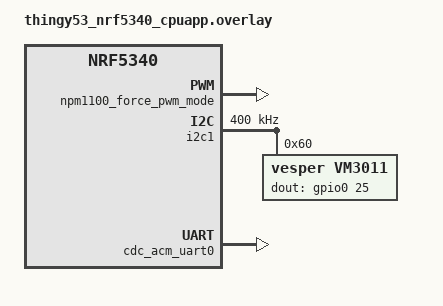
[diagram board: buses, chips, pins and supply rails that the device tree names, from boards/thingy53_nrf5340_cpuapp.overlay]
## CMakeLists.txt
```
# /* The Clear BSD License
#  *
#  * Copyright (c) 2025 EdgeImpulse Inc.
#  * All rights reserved.
#  *
#  * Redistribution and use in source and binary forms, with or without
#  * modification, are permitted (subject to the limitations in the disclaimer
#  * below) provided that the following conditions are met:
#  *
#  *   * Redistributions of source code must retain the above copyright notice,
#  *   this list of conditions and the following disclaimer.
#  *
#  *   * Redistributions in binary form must reproduce the above copyright
#  *   notice, this list of conditions and the following disclaimer in the
#  *   documentation and/or other materials provided with the distribution.
#  *
#  *   * Neither the name of the copyright holder nor the names of its
#  *   contributors may be used to endorse or promote products derived from this
#  *   software without specific prior written permission.
#  *
#  * NO EXPRESS OR IMPLIED LICENSES TO ANY PARTY'S PATENT RIGHTS ARE GRANTED BY
#  * THIS LICENSE. THIS SOFTWARE IS PROVIDED BY THE COPYRIGHT HOLDERS AND
#  * CONTRIBUTORS "AS IS" AND ANY EXPRESS OR IMPLIED WARRANTIES, INCLUDING, BUT NOT
#  * LIMITED TO, THE IMPLIED WARRANTIES OF MERCHANTABILITY AND FITNESS FOR A
#  * PARTICULAR PURPOSE ARE DISCLAIMED. IN NO EVENT SHALL THE COPYRIGHT HOLDER OR
#  * CONTRIBUTORS BE LIABLE FOR ANY DIRECT, INDIRECT, INCIDENTAL, SPECIAL,
#  * EXEMPLARY, OR CONSEQUENTIAL DAMAGES (INCLUDING, BUT NOT LIMITED TO,
#  * PROCUREMENT OF SUBSTITUTE GOODS OR SERVICES; LOSS OF USE, DATA, OR PROFITS; OR
#  * BUSINESS INTERRUPTION) HOWEVER CAUSED AND ON ANY THEORY OF LIABILITY, WHETHER
#  * IN CONTRACT, STRICT LIABILITY, OR TORT (INCLUDING NEGLIGENCE OR OTHERWISE)
#  * ARISING IN ANY WAY OUT OF THE USE OF THIS SOFTWARE, EVEN IF ADVISED OF THE
#  * POSSIBILITY OF SUCH DAMAGE.
#  */

cmake_minimum_required(VERSION 3.13.1)

# If project is build with WiFi shiled using the command line
# west build -b thingy53_nrf5340_cpuapp -p -- -DSHIELD=nrf7002eb
# then the SHIELD variable is set to nrf7002eb and additional configuratio for project is added
if("${SHIELD}" STREQUAL "nrf7002eb")
    set(CONF_FILE ${CMAKE_CURRENT_SOURCE_DIR}/boards/shield-nrf7002eb.conf; ${CMAKE_CURRENT_SOURCE_DIR}/boards/thingy53_nrf5340_cpuapp.conf; ${CMAKE_CURRENT_SOURCE_DIR}/prj.conf)
endif()

set(CMAKE_CXX_STANDARD 11)
set(CMAKE_CXX_STANDARD_REQUIRED ON)

list(APPEND ZEPHYR_EXTRA_MODULES ${CMAKE_CURRENT_SOURCE_DIR}/drivers/vm3011 )

##########################################################################
find_package(Zephyr REQUIRED HINTS $ENV{ZEPHYR_BASE})
project("firmware-nordic-thingy53-internal"
          VERSION 0.1)
##########################################################################

add_subdirectory(ei-model/edge-impulse-sdk/cmake/zephyr)

# Needed for colorful output
zephyr_compile_options(-fdiagnostics-color=always)

# Use hardware acceleration for DSP and Neural Network code
# You'll need to disable these on non-Arm cores
add_definitions(-DEIDSP_USE_CMSIS_DSP=1
                -DEIDSP_LOAD_CMSIS_DSP_SOURCES=1
                -DEI_CLASSIFIER_TFLITE_ENABLE_CMSIS_NN=1
                -DEIDSP_QUANTIZE_FILTERBANK=0
                -DARM_MATH_LOOPUNROLL
                -DMBEDTLS_PLATFORM_ZEROIZE_ALT
                )

# Edge impulse SDK include directories
set(INCLUDES
    .
    drivers
    ei-model
    ei-model/tflite-model
    ei-model/model-parameters
    src
    src/libs
    )
include_directories(${INCLUDES})

RECURSIVE_FIND_FILE(MODEL_FILES "ei-model/tflite-model" "*.cpp")
RECURSIVE_FIND_FILE(BME68X_FILES "drivers/bme68x" "*.c")
RECURSIVE_FIND_FILE(FIRMWARE_SDK_FILES "firmware-sdk" "*.cpp")
RECURSIVE_FIND_FILE(FIRMWARE_SDK_C_FILES "firmware-sdk" "*.c")
RECURSIVE_FIND_FILE(LIB_MBEDTLS_FILES "src/libs/mbedtls_hmac_sha256_sw/mbedtls/src" "*.c")
RECURSIVE_FIND_FILE(SENSORS_FILES "src/sensors" "*.cpp")
RECURSIVE_FIND_FILE(INFERENCE_FILES "src/inference" "*.cpp")

list(APPEND SOURCE_FILES ${MODEL_FILES})
list(APPEND SOURCE_FILES ${BME68X_FILES})
list(APPEND SOURCE_FILES ${FIRMWARE_SDK_FILES})
list(APPEND SOURCE_FILES ${FIRMWARE_SDK_C_FILES})
list(APPEND SOURCE_FILES ${LIB_MBEDTLS_FILES})
list(APPEND SOURCE_FILES ${LIB_SENSOR_AQ_MBEDTLS_FILES})
list(APPEND SOURCE_FILES ${SENSORS_FILES})
list(APPEND SOURCE_FILES ${INFERENCE_FILES})

# add all sources to the project
target_sources(app PRIVATE ${SOURCE_FILES})
target_sources(app PRIVATE src/ble/ei_ble_com.cpp)
target_sources(app PRIVATE src/ble/nus.c)
target_sources(app PRIVATE src/ble/ble_nus.cpp)
if("${SHIELD}" STREQUAL "nrf7002eb")
    target_sources(app PRIVATE src/wifi/wifi.cpp)
    target_sources(app PRIVATE src/wifi/ei_ws_client.cpp)
endif()
target_sources(app PRIVATE src/ei_base64_encode.cpp)
target_sources(app PRIVATE src/ei_at_handlers.cpp)
target_sources(app PRIVATE src/ei_device_thingy53.cpp)
target_sources(app PRIVATE src/ei_sampler.cpp)
target_sources(app PRIVATE src/flash_memory.cpp)
target_sources(app PRIVATE src/main.cpp)
```

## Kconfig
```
# /* The Clear BSD License
#  *
#  * Copyright (c) 2025 EdgeImpulse Inc.
#  * All rights reserved.
#  *
#  * Redistribution and use in source and binary forms, with or without
#  * modification, are permitted (subject to the limitations in the disclaimer
#  * below) provided that the following conditions are met:
#  *
#  *   * Redistributions of source code must retain the above copyright notice,
#  *   this list of conditions and the following disclaimer.
#  *
#  *   * Redistributions in binary form must reproduce the above copyright
#  *   notice, this list of conditions and the following disclaimer in the
#  *   documentation and/or other materials provided with the distribution.
#  *
#  *   * Neither the name of the copyright holder nor the names of its
#  *   contributors may be used to endorse or promote products derived from this
#  *   software without specific prior written permission.
#  *
#  * NO EXPRESS OR IMPLIED LICENSES TO ANY PARTY'S PATENT RIGHTS ARE GRANTED BY
#  * THIS LICENSE. THIS SOFTWARE IS PROVIDED BY THE COPYRIGHT HOLDERS AND
#  * CONTRIBUTORS "AS IS" AND ANY EXPRESS OR IMPLIED WARRANTIES, INCLUDING, BUT NOT
#  * LIMITED TO, THE IMPLIED WARRANTIES OF MERCHANTABILITY AND FITNESS FOR A
#  * PARTICULAR PURPOSE ARE DISCLAIMED. IN NO EVENT SHALL THE COPYRIGHT HOLDER OR
#  * CONTRIBUTORS BE LIABLE FOR ANY DIRECT, INDIRECT, INCIDENTAL, SPECIAL,
#  * EXEMPLARY, OR CONSEQUENTIAL DAMAGES (INCLUDING, BUT NOT LIMITED TO,
#  * PROCUREMENT OF SUBSTITUTE GOODS OR SERVICES; LOSS OF USE, DATA, OR PROFITS; OR
#  * BUSINESS INTERRUPTION) HOWEVER CAUSED AND ON ANY THEORY OF LIABILITY, WHETHER
#  * IN CONTRACT, STRICT LIABILITY, OR TORT (INCLUDING NEGLIGENCE OR OTHERWISE)
#  * ARISING IN ANY WAY OUT OF THE USE OF THIS SOFTWARE, EVEN IF ADVISED OF THE
#  * POSSIBILITY OF SUCH DAMAGE.
#  */

source "Kconfig.zephyr"

menu "Nordic UART BLE GATT service sample"

config BT_NUS_UART_BUFFER_SIZE
	int "UART payload buffer element size"
	default 244
	help
	  Size of the payload buffer in each RX and TX FIFO element

config BT_NUS_UART_RX_WAIT_TIME
	int "Timeout for UART RX complete event"
	default 50
	help
	  Wait for RX complete event time in milliseconds

config CONNECTION_IDLE_TIMEOUT
	int "Time to be waited for a station to connect"
	default 30

config STA_SAMPLE_SSID
	string "SSID"
	help
	  Specify the SSID to connect

choice  STA_KEY_MGMT_SELECT
	prompt "Security Option"
	default STA_KEY_MGMT_WPA3

config STA_KEY_MGMT_NONE
	bool "Open Security"
	help
	  Enable for Open Security

config STA_KEY_MGMT_WPA2
	bool "WPA2 Security"
	help
	  Enable for WPA2 Security

config STA_KEY_MGMT_WPA2_256
	bool "WPA2 SHA 256 Security"
	help
	  Enable for WPA2-PSK-256 Security

config STA_KEY_MGMT_WPA3
	bool "WPA3 Security"
	help
	  Enable for WPA3 Security
endchoice

config STA_SAMPLE_PASSWORD
	string "Passphrase (WPA2) or password (WPA3)"
	help
	  Specify the Password to connect

config NRF700X_QSPI_ENCRYPTION_KEY
	string "16 bytes QSPI encryption key, only for testing purposes"
	depends on BOARD_NRF7002DK_NRF5340_CPUAPP
	help
	  Specify the QSPI encryption key

config EDGE_IMPULSE_API_KEY
	string "Edge Impulse API key"
	help
	  Specify the Edge Impulse API key fro your project

module = REMOTE_INGESTION
module-str = Remote Ingestion
source "subsys/logging/Kconfig.template.log_config"

endmenu

config EI_INFERENCE_THREAD_STACK
	int "Inference thread stack size"
	default 256
	help
	  "Set the Edge Impulse inference thread stack size."

config EI_INFERENCE_THREAD_PRIO
	int "Inference thread priority"
	default 5
	help
	  "Set the Edge Impulse inference thread priority. The lower number, the higher prority."
```

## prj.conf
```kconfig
# /* The Clear BSD License
#  *
#  * Copyright (c) 2025 EdgeImpulse Inc.
#  * All rights reserved.
#  *
#  * Redistribution and use in source and binary forms, with or without
#  * modification, are permitted (subject to the limitations in the disclaimer
#  * below) provided that the following conditions are met:
#  *
#  *   * Redistributions of source code must retain the above copyright notice,
#  *   this list of conditions and the following disclaimer.
#  *
#  *   * Redistributions in binary form must reproduce the above copyright
#  *   notice, this list of conditions and the following disclaimer in the
#  *   documentation and/or other materials provided with the distribution.
#  *
#  *   * Neither the name of the copyright holder nor the names of its
#  *   contributors may be used to endorse or promote products derived from this
#  *   software without specific prior written permission.
#  *
#  * NO EXPRESS OR IMPLIED LICENSES TO ANY PARTY'S PATENT RIGHTS ARE GRANTED BY
#  * THIS LICENSE. THIS SOFTWARE IS PROVIDED BY THE COPYRIGHT HOLDERS AND
#  * CONTRIBUTORS "AS IS" AND ANY EXPRESS OR IMPLIED WARRANTIES, INCLUDING, BUT NOT
#  * LIMITED TO, THE IMPLIED WARRANTIES OF MERCHANTABILITY AND FITNESS FOR A
#  * PARTICULAR PURPOSE ARE DISCLAIMED. IN NO EVENT SHALL THE COPYRIGHT HOLDER OR
#  * CONTRIBUTORS BE LIABLE FOR ANY DIRECT, INDIRECT, INCIDENTAL, SPECIAL,
#  * EXEMPLARY, OR CONSEQUENTIAL DAMAGES (INCLUDING, BUT NOT LIMITED TO,
#  * PROCUREMENT OF SUBSTITUTE GOODS OR SERVICES; LOSS OF USE, DATA, OR PROFITS; OR
#  * BUSINESS INTERRUPTION) HOWEVER CAUSED AND ON ANY THEORY OF LIABILITY, WHETHER
#  * IN CONTRACT, STRICT LIABILITY, OR TORT (INCLUDING NEGLIGENCE OR OTHERWISE)
#  * ARISING IN ANY WAY OUT OF THE USE OF THIS SOFTWARE, EVEN IF ADVISED OF THE
#  * POSSIBILITY OF SUCH DAMAGE.
#  */
################################################################################
# Application configuratin

# enable c++ support
CONFIG_CPLUSPLUS=y
CONFIG_STD_CPP11=y
CONFIG_LIB_CPLUSPLUS=y
CONFIG_NEWLIB_LIBC=y
CONFIG_NEWLIB_LIBC_FLOAT_PRINTF=y

# enable reboot from user space
CONFIG_REBOOT=y

# enable floating point unit
CONFIG_FPU=y

CONFIG_MAIN_STACK_SIZE=8192
CONFIG_SYSTEM_WORKQUEUE_STACK_SIZE=4096
CONFIG_EI_INFERENCE_THREAD_STACK=4096
CONFIG_HEAP_MEM_POOL_SIZE=170000

# serial console
CONFIG_UART_INTERRUPT_DRIVEN=y
CONFIG_CONSOLE_SUBSYS=n

CONFIG_NCS_SAMPLES_DEFAULTS=n
# Logging
CONFIG_ASSERT_NO_COND_INFO=y
CONFIG_ASSERT_NO_MSG_INFO=y

CONFIG_DEBUG=n
CONFIG_LOG=y
CONFIG_LOG_MODE_DEFERRED=y
CONFIG_LOG_PRINTK=y
CONFIG_LOG_BACKEND_UART=n
CONFIG_LOG_BACKEND_RTT=y

# configure Segger RTT
CONFIG_USE_SEGGER_RTT=y
CONFIG_SEGGER_RTT_BUFFER_SIZE_UP=4096

# configure bluetooth
CONFIG_BT=y
CONFIG_BT_PERIPHERAL=y
CONFIG_BT_DEVICE_NAME="EdgeImpulse"
CONFIG_BT_DEVICE_APPEARANCE=833

CONFIG_BT_SMP=y
CONFIG_BT_SIGNING=y
CONFIG_BT_BONDABLE=y
CONFIG_BT_CONN_TX_MAX=64
CONFIG_BT_SETTINGS=y
CONFIG_SETTINGS=y

CONFIG_BT_PERIPHERAL_PREF_MIN_INT=16
CONFIG_BT_PERIPHERAL_PREF_MAX_INT=16
CONFIG_BT_PERIPHERAL_PREF_TIMEOUT=100
CONFIG_BT_GAP_AUTO_UPDATE_CONN_PARAMS=y
CONFIG_BT_RX_STACK_SIZE=4096

CONFIG_CJSON_LIB=y

# Bootloader and MCUmgr (OTA DFU) Configuration
CONFIG_MCUBOOT_IMAGE_VERSION="2.4.0+0"
CONFIG_NCS_SAMPLE_MCUMGR_BT_OTA_DFU=y
```

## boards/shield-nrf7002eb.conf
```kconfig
# /* The Clear BSD License
#  *
#  * Copyright (c) 2025 EdgeImpulse Inc.
#  * All rights reserved.
#  *
#  * Redistribution and use in source and binary forms, with or without
#  * modification, are permitted (subject to the limitations in the disclaimer
#  * below) provided that the following conditions are met:
#  *
#  *   * Redistributions of source code must retain the above copyright notice,
#  *   this list of conditions and the following disclaimer.
#  *
#  *   * Redistributions in binary form must reproduce the above copyright
#  *   notice, this list of conditions and the following disclaimer in the
#  *   documentation and/or other materials provided with the distribution.
#  *
#  *   * Neither the name of the copyright holder nor the names of its
#  *   contributors may be used to endorse or promote products derived from this
#  *   software without specific prior written permission.
#  *
#  * NO EXPRESS OR IMPLIED LICENSES TO ANY PARTY'S PATENT RIGHTS ARE GRANTED BY
#  * THIS LICENSE. THIS SOFTWARE IS PROVIDED BY THE COPYRIGHT HOLDERS AND
#  * CONTRIBUTORS "AS IS" AND ANY EXPRESS OR IMPLIED WARRANTIES, INCLUDING, BUT NOT
#  * LIMITED TO, THE IMPLIED WARRANTIES OF MERCHANTABILITY AND FITNESS FOR A
#  * PARTICULAR PURPOSE ARE DISCLAIMED. IN NO EVENT SHALL THE COPYRIGHT HOLDER OR
#  * CONTRIBUTORS BE LIABLE FOR ANY DIRECT, INDIRECT, INCIDENTAL, SPECIAL,
#  * EXEMPLARY, OR CONSEQUENTIAL DAMAGES (INCLUDING, BUT NOT LIMITED TO,
#  * PROCUREMENT OF SUBSTITUTE GOODS OR SERVICES; LOSS OF USE, DATA, OR PROFITS; OR
#  * BUSINESS INTERRUPTION) HOWEVER CAUSED AND ON ANY THEORY OF LIABILITY, WHETHER
#  * IN CONTRACT, STRICT LIABILITY, OR TORT (INCLUDING NEGLIGENCE OR OTHERWISE)
#  * ARISING IN ANY WAY OUT OF THE USE OF THIS SOFTWARE, EVEN IF ADVISED OF THE
#  * POSSIBILITY OF SUCH DAMAGE.
#  */
#################################################################################
# WIFI configuration
#
# Networking config
CONFIG_NETWORKING=y
CONFIG_NET_IPV4=y
CONFIG_NET_IPV6=n
CONFIG_NET_TCP=y

# Sockets
CONFIG_NET_SOCKETS=y
CONFIG_NET_SOCKETS_POLL_MAX=4

# HTTP & Websocket
CONFIG_HTTP_CLIENT=y
CONFIG_WEBSOCKET_CLIENT=y

# Network debug config
CONFIG_LOG=y
CONFIG_LOG_MODE_IMMEDIATE=y
CONFIG_NET_LOG=y
CONFIG_REMOTE_INGESTION_LOG_LEVEL_DBG=y
CONFIG_REMOTE_INGESTION_LOG_LEVEL_INF=n
# CONFIG_NET_SOCKETS_LOG_LEVEL_DBG=y
# CONFIG_NET_HTTP_LOG_LEVEL_DBG=y
# CONFIG_NET_WEBSOCKET_LOG_LEVEL_DBG=y
# CONFIG_NET_CONTEXT_LOG_LEVEL_DBG=y
# CONFIG_NET_TCP_LOG_LEVEL_DBG=y

CONFIG_NET_MAX_CONN=8
CONFIG_NET_MAX_CONTEXTS=10

CONFIG_DEBUG_INFO=y
CONFIG_DEBUG_THREAD_INFO=y
CONFIG_DEBUG_COREDUMP=n

CONFIG_WIFI=y
CONFIG_WIFI_NRF700X=y

# WPA supplicant
CONFIG_WPA_SUPP=y

# System settings
CONFIG_NEWLIB_LIBC=y
CONFIG_NEWLIB_LIBC_NANO=n

# Networking
CONFIG_NETWORKING=y
CONFIG_NET_SOCKETS=y
CONFIG_NET_LOG=y
CONFIG_NET_IPV4=y
CONFIG_NET_UDP=y
CONFIG_NET_TCP=y
CONFIG_NET_DHCPV4=y

CONFIG_NET_PKT_RX_COUNT=30
CONFIG_NET_PKT_TX_COUNT=10

CONFIG_NRF700X_AP_MODE=n
CONFIG_NRF700X_P2P_MODE=n

# Below section is the primary contributor to SRAM and is currently
# tuned for performance, but this will be revisited in the future.
CONFIG_NET_BUF_RX_COUNT=10
CONFIG_NET_BUF_TX_COUNT=40
CONFIG_NRF700X_RX_NUM_BUFS=10
CONFIG_NET_BUF_DATA_SIZE=512
CONFIG_NET_TC_TX_COUNT=1

CONFIG_NET_IF_UNICAST_IPV4_ADDR_COUNT=1
# CONFIG_NET_MAX_CONTEXTS=5
CONFIG_NET_CONTEXT_SYNC_RECV=y

CONFIG_INIT_STACKS=y

CONFIG_NET_L2_ETHERNET=y

CONFIG_NET_SOCKETS_POLL_MAX=4

# Memories
# CONFIG_MAIN_STACK_SIZE=4096
# CONFIG_SYSTEM_WORKQUEUE_STACK_SIZE=2048
CONFIG_NET_TX_STACK_SIZE=4096
CONFIG_NET_RX_STACK_SIZE=4096

# Debugging
# CONFIG_STACK_SENTINEL=y
# CONFIG_DEBUG_COREDUMP=y
# CONFIG_DEBUG_COREDUMP_BACKEND_LOGGING=y
# CONFIG_DEBUG_COREDUMP_MEMORY_DUMP_MIN=y
# CONFIG_SHELL_CMDS_RESIZE=n


# Kernel options
CONFIG_ENTROPY_GENERATOR=y

# Logging
CONFIG_LOG=y
CONFIG_LOG_BUFFER_SIZE=2048
CONFIG_POSIX_CLOCK=y

CONFIG_PM=y

# printing of scan results puts pressure on queues in new locking
# design in net_mgmt. So, use a higher timeout for a crowded
# environment.
CONFIG_NET_MGMT_EVENT_QUEUE_TIMEOUT=5000

# Zephyr NET Connection Manager Connectivity layer.
CONFIG_NET_L2_WIFI_MGMT=y
# CONFIG_L2_WIFI_CONNECTIVITY=y
# CONFIG_L2_WIFI_CONNECTIVITY_AUTO_DOWN=n

# DNS
CONFIG_DNS_RESOLVER=y

CONFIG_POSIX_MAX_FDS=12
```

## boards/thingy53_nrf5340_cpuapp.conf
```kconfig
# /* The Clear BSD License
#  *
#  * Copyright (c) 2025 EdgeImpulse Inc.
#  * All rights reserved.
#  *
#  * Redistribution and use in source and binary forms, with or without
#  * modification, are permitted (subject to the limitations in the disclaimer
#  * below) provided that the following conditions are met:
#  *
#  *   * Redistributions of source code must retain the above copyright notice,
#  *   this list of conditions and the following disclaimer.
#  *
#  *   * Redistributions in binary form must reproduce the above copyright
#  *   notice, this list of conditions and the following disclaimer in the
#  *   documentation and/or other materials provided with the distribution.
#  *
#  *   * Neither the name of the copyright holder nor the names of its
#  *   contributors may be used to endorse or promote products derived from this
#  *   software without specific prior written permission.
#  *
#  * NO EXPRESS OR IMPLIED LICENSES TO ANY PARTY'S PATENT RIGHTS ARE GRANTED BY
#  * THIS LICENSE. THIS SOFTWARE IS PROVIDED BY THE COPYRIGHT HOLDERS AND
#  * CONTRIBUTORS "AS IS" AND ANY EXPRESS OR IMPLIED WARRANTIES, INCLUDING, BUT NOT
#  * LIMITED TO, THE IMPLIED WARRANTIES OF MERCHANTABILITY AND FITNESS FOR A
#  * PARTICULAR PURPOSE ARE DISCLAIMED. IN NO EVENT SHALL THE COPYRIGHT HOLDER OR
#  * CONTRIBUTORS BE LIABLE FOR ANY DIRECT, INDIRECT, INCIDENTAL, SPECIAL,
#  * EXEMPLARY, OR CONSEQUENTIAL DAMAGES (INCLUDING, BUT NOT LIMITED TO,
#  * PROCUREMENT OF SUBSTITUTE GOODS OR SERVICES; LOSS OF USE, DATA, OR PROFITS; OR
#  * BUSINESS INTERRUPTION) HOWEVER CAUSED AND ON ANY THEORY OF LIABILITY, WHETHER
#  * IN CONTRACT, STRICT LIABILITY, OR TORT (INCLUDING NEGLIGENCE OR OTHERWISE)
#  * ARISING IN ANY WAY OUT OF THE USE OF THIS SOFTWARE, EVEN IF ADVISED OF THE
#  * POSSIBILITY OF SUCH DAMAGE.
#  */
################################################################################
# Application configuration overlay - Thingy:53

CONFIG_STREAM_FLASH=y
CONFIG_FLASH_MAP=y
CONFIG_NVS=y
CONFIG_FLASH_SIMULATOR=n
CONFIG_SETTINGS_NVS=y

CONFIG_ZCBOR=y
CONFIG_ZCBOR_STOP_ON_ERROR=y

CONFIG_BT_L2CAP_TX_MTU=498
CONFIG_BT_BUF_ACL_RX_SIZE=502
CONFIG_BT_BUF_ACL_TX_SIZE=251

CONFIG_DK_LIBRARY=y

# Using built-in sensor
CONFIG_I2C=y
CONFIG_I2C_NRFX=y
CONFIG_SPI=y
CONFIG_NRFX_PDM=y
CONFIG_SENSOR=y

# acclerometer
CONFIG_ADXL362=y
CONFIG_ADXL362_ACCEL_RANGE_2G=y
CONFIG_ADXL362_ACCEL_ODR_400=y

# magnetometer
CONFIG_BMM150=y
CONFIG_BMM150_SAMPLING_RATE_RUNTIME=y
CONFIG_BMM150_SAMPLING_REP_XY=y
CONFIG_BMM150_SAMPLING_REP_Z=y
CONFIG_BMM150_PRESET_HIGH_ACCURACY=y

# color sensor
CONFIG_BH1749=y
CONFIG_BH1749_TRIGGER=n

# microphone
CONFIG_VM3011=y
CONFIG_VM3011_PDM_BUFFER_SIZE=1600
CONFIG_AUDIO=y
CONFIG_AUDIO_DMIC=y
CONFIG_AUDIO_DMIC_LOG_LEVEL_DBG=y

################################################################################
# External flash configuration
CONFIG_FLASH=y
CONFIG_FLASH_PAGE_LAYOUT=y
CONFIG_MPU_ALLOW_FLASH_WRITE=y

CONFIG_NORDIC_QSPI_NOR=y
CONFIG_NORDIC_QSPI_NOR_FLASH_LAYOUT_PAGE_SIZE=4096
CONFIG_NORDIC_QSPI_NOR_STACK_WRITE_BUFFER_SIZE=16

################################################################################
# Enable USB CDC ACM
CONFIG_USB_DEVICE_STACK=y
CONFIG_USB_NRFX_WORK_QUEUE_STACK_SIZE=1200
CONFIG_USB_DEVICE_PRODUCT="Application Thingy:53"
CONFIG_USB_DEVICE_VID=0x1915
CONFIG_USB_DEVICE_PID=0x530D
CONFIG_USB_CDC_ACM=y
CONFIG_USB_CDC_ACM_LOG_LEVEL_ERR=y
CONFIG_USB_DEVICE_LOG_LEVEL_ERR=y
```

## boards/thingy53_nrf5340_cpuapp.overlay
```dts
/* The Clear BSD License
 *
 * Copyright (c) 2025 EdgeImpulse Inc.
 * All rights reserved.
 *
 * Redistribution and use in source and binary forms, with or without
 * modification, are permitted (subject to the limitations in the disclaimer
 * below) provided that the following conditions are met:
 *
 *   * Redistributions of source code must retain the above copyright notice,
 *   this list of conditions and the following disclaimer.
 *
 *   * Redistributions in binary form must reproduce the above copyright
 *   notice, this list of conditions and the following disclaimer in the
 *   documentation and/or other materials provided with the distribution.
 *
 *   * Neither the name of the copyright holder nor the names of its
 *   contributors may be used to endorse or promote products derived from this
 *   software without specific prior written permission.
 *
 * NO EXPRESS OR IMPLIED LICENSES TO ANY PARTY'S PATENT RIGHTS ARE GRANTED BY
 * THIS LICENSE. THIS SOFTWARE IS PROVIDED BY THE COPYRIGHT HOLDERS AND
 * CONTRIBUTORS "AS IS" AND ANY EXPRESS OR IMPLIED WARRANTIES, INCLUDING, BUT NOT
 * LIMITED TO, THE IMPLIED WARRANTIES OF MERCHANTABILITY AND FITNESS FOR A
 * PARTICULAR PURPOSE ARE DISCLAIMED. IN NO EVENT SHALL THE COPYRIGHT HOLDER OR
 * CONTRIBUTORS BE LIABLE FOR ANY DIRECT, INDIRECT, INCIDENTAL, SPECIAL,
 * EXEMPLARY, OR CONSEQUENTIAL DAMAGES (INCLUDING, BUT NOT LIMITED TO,
 * PROCUREMENT OF SUBSTITUTE GOODS OR SERVICES; LOSS OF USE, DATA, OR PROFITS; OR
 * BUSINESS INTERRUPTION) HOWEVER CAUSED AND ON ANY THEORY OF LIABILITY, WHETHER
 * IN CONTRACT, STRICT LIABILITY, OR TORT (INCLUDING NEGLIGENCE OR OTHERWISE)
 * ARISING IN ANY WAY OUT OF THE USE OF THIS SOFTWARE, EVEN IF ADVISED OF THE
 * POSSIBILITY OF SUCH DAMAGE.
 */

&i2c1 {
    clock-frequency = <I2C_BITRATE_FAST>;
    vm3011: vm3011@60  {
        compatible = "vesper,vm3011";
        label = "VM3011";
        reg = <0x60>;
        clk-pin = <41>;
        data-pin = <27>;
        dout-gpios = <&gpio0 25 GPIO_ACTIVE_HIGH>;
    };
};

/ {
	npm1100_force_pwm_mode: npm1100_force_pwm_mode {
		status = "okay";
	};

	chosen {
		zephyr,console = &cdc_acm_uart0;
		zephyr,shell-uart = &cdc_acm_uart0;
		nordic,pm-ext-flash = &mx25r64;
	};

	aliases {
		light0 = &bh1749;
		bme68xi2c1 = &i2c1;
		mic0 = &i2c1;
	};
};

&zephyr_udc0 {
	cdc_acm_uart0: cdc_acm_uart0 {
		compatible = "zephyr,cdc-acm-uart";
		label = "CDC_ACM_0";
	};
};
```

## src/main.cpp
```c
/* The Clear BSD License
 *
 * Copyright (c) 2025 EdgeImpulse Inc.
 * All rights reserved.
 *
 * Redistribution and use in source and binary forms, with or without
 * modification, are permitted (subject to the limitations in the disclaimer
 * below) provided that the following conditions are met:
 *
 *   * Redistributions of source code must retain the above copyright notice,
 *   this list of conditions and the following disclaimer.
 *
 *   * Redistributions in binary form must reproduce the above copyright
 *   notice, this list of conditions and the following disclaimer in the
 *   documentation and/or other materials provided with the distribution.
 *
 *   * Neither the name of the copyright holder nor the names of its
 *   contributors may be used to endorse or promote products derived from this
 *   software without specific prior written permission.
 *
 * NO EXPRESS OR IMPLIED LICENSES TO ANY PARTY'S PATENT RIGHTS ARE GRANTED BY
 * THIS LICENSE. THIS SOFTWARE IS PROVIDED BY THE COPYRIGHT HOLDERS AND
 * CONTRIBUTORS "AS IS" AND ANY EXPRESS OR IMPLIED WARRANTIES, INCLUDING, BUT NOT
 * LIMITED TO, THE IMPLIED WARRANTIES OF MERCHANTABILITY AND FITNESS FOR A
 * PARTICULAR PURPOSE ARE DISCLAIMED. IN NO EVENT SHALL THE COPYRIGHT HOLDER OR
 * CONTRIBUTORS BE LIABLE FOR ANY DIRECT, INDIRECT, INCIDENTAL, SPECIAL,
 * EXEMPLARY, OR CONSEQUENTIAL DAMAGES (INCLUDING, BUT NOT LIMITED TO,
 * PROCUREMENT OF SUBSTITUTE GOODS OR SERVICES; LOSS OF USE, DATA, OR PROFITS; OR
 * BUSINESS INTERRUPTION) HOWEVER CAUSED AND ON ANY THEORY OF LIABILITY, WHETHER
 * IN CONTRACT, STRICT LIABILITY, OR TORT (INCLUDING NEGLIGENCE OR OTHERWISE)
 * ARISING IN ANY WAY OUT OF THE USE OF THIS SOFTWARE, EVEN IF ADVISED OF THE
 * POSSIBILITY OF SUCH DAMAGE.
 */

#include "ei_at_handlers.h"
#include "ei_device_thingy53.h"
#include "ble/ei_ble_com.h"
#include "edge-impulse-sdk/porting/ei_classifier_porting.h"
#include "inference/ei_run_impulse.h"
#include "sensors/ei_environment_sensor.h"
#include "sensors/ei_inertial_sensor.h"
#include "sensors/ei_light_sensor.h"
#include "sensors/ei_mag_sensor.h"
#include "sensors/ei_microphone.h"
#include "wifi/wifi.h"
#include "wifi/ei_ws_client.h"
#include <zephyr/drivers/uart.h>
#include <zephyr/logging/log.h>
#include <nrfx_clock.h>
#include <zephyr/kernel.h>

#define LOG_MODULE_NAME main
LOG_MODULE_REGISTER(LOG_MODULE_NAME);

const struct device *uart;

void ei_putchar(char c)
{
    // it is ~30% faster than printf
    uart_fifo_fill(uart, (const uint8_t*)&c, 1);
}

int main(void)
{
    EiDeviceThingy53 *dev = static_cast<EiDeviceThingy53*>(EiDeviceInfo::get_device());
    uint8_t rcv_char;
    ATServer *at;

    /* output of printf is output immediately without buffering */
    setvbuf(stdout, NULL, _IONBF, 0);

    /* Switch CPU core clock to 128 MHz */
    nrfx_clock_divider_set(NRF_CLOCK_DOMAIN_HFCLK, NRF_CLOCK_HFCLK_DIV_1);

    /* Initialize board uart */
	uart = device_get_binding("CDC_ACM_0");
	if (!uart) {
        LOG_ERR("Failed to init CDC_ACM_0\n");
	}

    /* Setup the accelerometer sensor */
    if(ei_acc_init() == false) {
        LOG_ERR("Light sensor communication error occured");
    }

    /* Setup the magnetometer sensor */
    if(ei_mag_init() == false) {
        LOG_ERR("Magnetometer communication error occured");
    }

    /* Setup the light sensor */
    if(ei_lightsensor_init() == false) {
        LOG_ERR("Light sensor communication error occured");
    }

    /* Setup the env sensor */
    if(ei_environment_init() == false) {
        LOG_ERR("Environment sensor communication error occured");
    }

    /* Setup the microphone sensor */
    if (ei_microphone_init() == false) {
        LOG_ERR("Microphone init failed!");
    }

    // init BLE stack
    ei_ble_com_init();

    // we have to do this later because the BLE stack is not available on boot
    dev->init_device_id();

    dev->set_state(eiStateFinished);

    ei_printf("Hello from Edge Impulse\r\n"
              "Compiled on %s %s\r\n", __DATE__, __TIME__);

    at = ei_at_init();
    at->print_prompt();

#ifdef CONFIG_WIFI_NRF700X
    char ssid[128] = { 0 };
    char password[128] = { 0 };
    int security = 0;

    dev->get_wifi_config(ssid, password, &security);

    if (strlen(ssid) != 0) {
        cmd_wifi_connect(ssid, password, security);
        // waithing to connect to wifi
        if(cmd_wifi_connecting() < 0) {
            LOG_ERR("Failed to connect to WiFi\n");
            ei_printf("ERR: Failed to connect to WiFi\n");
        }
        // waiting to get dhcp config
        if(cmd_dhcp_configured() < 0) {
            LOG_ERR("Failed to configure DHCP\n");
            ei_printf("ERR: Failed to configure DHCP\n");
        }
        ei_sleep(300);
        LOG_INF("WiFi connected\n");
        ei_printf("WiFi connected\n");
        ei_ws_client_start(dev, nullptr);
    }
#endif

    while(1) {
        while(uart_fifo_read(uart, &rcv_char, 1) == 1) {
            if(is_inference_running() && rcv_char == 'b') {
                ei_stop_impulse();
                at->print_prompt();
                continue;
            }
            dev->set_serial_channel(UART);
            at->handle(rcv_char);
        }
        ei_sleep(1);
    }
}
```

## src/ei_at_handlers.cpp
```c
/* The Clear BSD License
 *
 * Copyright (c) 2025 EdgeImpulse Inc.
 * All rights reserved.
 *
 * Redistribution and use in source and binary forms, with or without
 * modification, are permitted (subject to the limitations in the disclaimer
 * below) provided that the following conditions are met:
 *
 *   * Redistributions of source code must retain the above copyright notice,
 *   this list of conditions and the following disclaimer.
 *
 *   * Redistributions in binary form must reproduce the above copyright
 *   notice, this list of conditions and the following disclaimer in the
 *   documentation and/or other materials provided with the distribution.
 *
 *   * Neither the name of the copyright holder nor the names of its
 *   contributors may be used to endorse or promote products derived from this
 *   software without specific prior written permission.
 *
 * NO EXPRESS OR IMPLIED LICENSES TO ANY PARTY'S PATENT RIGHTS ARE GRANTED BY
 * THIS LICENSE. THIS SOFTWARE IS PROVIDED BY THE COPYRIGHT HOLDERS AND
 * CONTRIBUTORS "AS IS" AND ANY EXPRESS OR IMPLIED WARRANTIES, INCLUDING, BUT NOT
 * LIMITED TO, THE IMPLIED WARRANTIES OF MERCHANTABILITY AND FITNESS FOR A
 * PARTICULAR PURPOSE ARE DISCLAIMED. IN NO EVENT SHALL THE COPYRIGHT HOLDER OR
 * CONTRIBUTORS BE LIABLE FOR ANY DIRECT, INDIRECT, INCIDENTAL, SPECIAL,
 * EXEMPLARY, OR CONSEQUENTIAL DAMAGES (INCLUDING, BUT NOT LIMITED TO,
 * PROCUREMENT OF SUBSTITUTE GOODS OR SERVICES; LOSS OF USE, DATA, OR PROFITS; OR
 * BUSINESS INTERRUPTION) HOWEVER CAUSED AND ON ANY THEORY OF LIABILITY, WHETHER
 * IN CONTRACT, STRICT LIABILITY, OR TORT (INCLUDING NEGLIGENCE OR OTHERWISE)
 * ARISING IN ANY WAY OUT OF THE USE OF THIS SOFTWARE, EVEN IF ADVISED OF THE
 * POSSIBILITY OF SUCH DAMAGE.
 */

#include "ei_at_handlers.h"
#include "ei_device_thingy53.h"
#include "ei_base64_encode.h"
#include "inference/ei_run_impulse.h"
#include "edge-impulse-sdk/porting/ei_classifier_porting.h"
#include "firmware-sdk/at-server/ei_at_command_set.h"
#include "firmware-sdk/at-server/ei_at_server.h"
#include "firmware-sdk/ei_device_info_lib.h"
#include "firmware-sdk/ei_fusion.h"
#include "firmware-sdk/at_base64_lib.h"
#include "firmware-sdk/ei_device_lib.h"
#include "firmware-sdk/ei_device_interface.h"
#include <zephyr/logging/log.h>
#include <zephyr/kernel.h>
#include <string>
#include "wifi/wifi.h"
#include "wifi/ei_ws_client.h"

LOG_MODULE_REGISTER(at_handlers, LOG_LEVEL_DBG);

using namespace std;

static EiDeviceThingy53 *dev;

#define TRANSFER_BUF_LEN 32

bool at_get_wifi(void);

inline bool check_args_num(const int &required, const int &received)
{
    if(received < required) {
        ei_printf("Too few arguments! Required: %d\n", required);
        return false;
    }

    return true;
}

bool at_get_device_id(void)
{
    ei_printf("%s\n", dev->get_device_id().c_str());

    return true;
}

bool at_set_device_id(const char **argv, const int argc)
{
    if(argc < 1) {
        ei_printf("Missing argument!\n");
        return true;
    }

    dev->set_device_id(argv[0]);

    ei_printf("OK\n");

    return true;
}

bool at_get_upload_host(void)
{
    ei_printf("%s\n", dev->get_upload_host().c_str());

    return true;
}

bool at_set_upload_host(const char **argv, const int argc)
{
    if(argc < 1) {
        ei_printf("Missing argument!\n");
        return true;
    }

    dev->set_upload_host(argv[0]);

    ei_printf("OK\n");

    return true;
}

bool at_get_upload_settings(void)
{
    ei_printf("Api Key:   %s\n", dev->get_upload_api_key().c_str());
    ei_printf("Host:      %s\n", dev->get_upload_host().c_str());
    ei_printf("Path:      %s\n", dev->get_upload_path().c_str());

    return true;
}

bool at_set_upload_settings(const char **argv, const int argc)
{
    if(argc < 2) {
        ei_printf("Missing argument! Required: " AT_UPLOADSETTINGS_ARGS "\n");
        return true;
    }

    //TODO: can we set these values to ""?
    dev->set_upload_api_key(argv[0]);
    dev->set_upload_path(argv[1]);

    ei_printf("OK\n");

    return true;
}

bool at_get_mgmt_url(void)
{
    ei_printf("%s\n", dev->get_management_url().c_str());

    return true;
}

bool at_set_mgmt_url(const char **argv, const int argc)
{
    if(argc < 1) {
        ei_printf("Missing argument!\n");
        return true;
    }

    dev->set_management_url(argv[0]);

    ei_printf("OK\n");

    return true;
}

bool at_get_sample_settings(void)
{
    ei_printf("Label:     %s\n", dev->get_sample_label().c_str());
    ei_printf("Interval:  %.2f ms.\n", dev->get_sample_interval_ms());
    ei_printf("Length:    %lu ms.\n", dev->get_sample_length_ms());
    ei_printf("HMAC key:  %s\n", dev->get_sample_hmac_key().c_str());

    return true;
}

bool at_set_sample_settings(const char **argv, const int argc)
{
    if(argc < 3) {
        ei_printf("Missing argument! Required: " AT_SAMPLESETTINGS_ARGS "\n");
        return true;
    }

    dev->set_sample_label(argv[0]);

    //TODO: sanity check and/or exception handling
    string interval_ms_str(argv[1]);
    dev->set_sample_interval_ms(stof(interval_ms_str));

    //TODO: sanity check and/or exception handling
    string sample_length_str(argv[2]);
    dev->set_sample_length_ms(stoi(sample_length_str));

    if(argc >= 4) {
        dev->set_sample_hmac_key(argv[3]);
    }

    ei_printf("OK\n");

    return true;
}

bool at_clear_config(void)
{
    dev->clear_config();
    dev->init_device_id();
#ifdef CONFIG_WIFI_NRF700X
    if(cmd_wifi_connected()) {
        ei_ws_client_stop();
        cmd_wifi_disconnect();
    }
#endif
    return true;
}

bool at_unlink_file(const char **argv, const int argc)
{
    ei_printf("\n");

    return true;
}

bool at_read_buffer(const char **argv, const int argc)
{
    if(argc < 2) {
        ei_printf("Missing argument! Required: " AT_READBUFFER_ARGS "\n");
        return true;
    }
    bool success = true;

    size_t start = (size_t)atoi(argv[0]);
    size_t length = (size_t)atoi(argv[1]);

    dev->set_state(eiStateUploading);

    bool use_max_baudrate = false;
    if (argc >= 3 && argv[2][0] == 'y') {
       use_max_baudrate = true;
    }

    if (use_max_baudrate) {
        ei_printf("OK\r\n");
        dev->set_max_data_output_baudrate();
        ei_sleep(100);
    }

    success = read_encode_send(start, length);

    if (use_max_baudrate) {
        ei_printf("\r\nOK\r\n");
        ei_sleep(100);
        dev->set_default_data_output_baudrate();
    }

    if (!success) {
        ei_printf("ERR: Failed to read from buffer\n");
        dev->set_state(eiStateIdle);
    }
    else {
        ei_printf("\n");
        dev->set_state(eiStateFinished);
    }

    return true;
}

bool at_sample_start(const char **argv, const int argc)
{
    EiDeviceThingy53 *dev = static_cast<EiDeviceThingy53*>(EiDeviceInfo::get_device());
    dev->set_serial_channel(UART);
    if(argc < 1) {
        ei_printf("Missing sensor name!\n");
        return true;
    }

    const ei_device_sensor_t *sensor_list;
    size_t sensor_list_size;

    dev->get_sensor_list((const ei_device_sensor_t **)&sensor_list, &sensor_list_size);

    for (size_t ix = 0; ix < sensor_list_size; ix++) {
        if (strcmp(sensor_list[ix].name, argv[0]) == 0) {
            if (!sensor_list[ix].start_sampling_cb()) {
                ei_printf("ERR: Failed to start sampling\n");
                dev->set_state(eiStateIdle);
            }
            else {
                dev->set_state(eiStateFinished);
            }
            return true;
        }
    }

    if (ei_connect_fusion_list(argv[0], SENSOR_FORMAT)) {
        if (!ei_fusion_setup_data_sampling()) {
            ei_printf("ERR: Failed to start sensor fusion sampling\n");
            dev->set_state(eiStateIdle);
        }
        else {
            dev->set_state(eiStateFinished);
        }
    }
    else {
        ei_printf("ERR: Failed to find sensor '%s' in the sensor list\n", argv[0]);
    }

    return true;
}

bool at_get_config(void)
{
    const ei_device_sensor_t *sensor_list;
    size_t sensor_list_size;

    dev->get_sensor_list((const ei_device_sensor_t **)&sensor_list, &sensor_list_size);

    ei_printf("===== Device info =====\n");
    ei_printf("ID:         %s\n", dev->get_device_id().c_str());
    ei_printf("Type:       %s\n", dev->get_device_type().c_str());
    ei_printf("AT Version: " AT_COMMAND_VERSION "\n");
    ei_printf("Data Transfer Baudrate: %lu\n", dev->get_data_output_baudrate());
    ei_printf("\n");
    ei_printf("===== Sensors ======\n");
    for (size_t ix = 0; ix < sensor_list_size; ix++) {
        ei_printf("Name: %s, Max sample length: %hus, Frequencies: [", sensor_list[ix].name, sensor_list[ix].max_sample_length_s);
        for (size_t fx = 0; fx < EI_MAX_FREQUENCIES; fx++) {
            if (sensor_list[ix].frequencies[fx] != 0.0f) {
                if (fx != 0) {
                    ei_printf(", ");
                }
                ei_printf("%.2fHz", sensor_list[ix].frequencies[fx]);
            }
        }
        ei_printf("]\n");
    }
    ei_built_sensor_fusion_list();
    ei_printf("\n");
    ei_printf("===== WIFI =====\n");
#ifdef CONFIG_WIFI_NRF700X
    at_get_wifi();
#else
    ei_printf("Present:   %d\n", false);
    ei_printf("SSID:      %s\n", "");
    ei_printf("Password:  %s\n", "");
    ei_printf("Security:  %d\n", false);
    ei_printf("MAC:       %s\n", dev->get_mac_address().c_str());
    ei_printf("Connected: %d\n", false);
#endif
    ei_printf("\n");
    ei_printf("===== Sampling parameters =====\n");
    ei_printf("Label:     %s\n", dev->get_sample_label().c_str());
    ei_printf("Interval:  %.2f ms.\n", dev->get_sample_interval_ms());
    ei_printf("Length:    %lu ms.\n", dev->get_sample_length_ms());
    ei_printf("HMAC key:  %s\n", dev->get_sample_hmac_key().c_str());
    ei_printf("\n");
    ei_printf("===== Upload settings =====\n");
    ei_printf("Api Key:   %s\n", dev->get_upload_api_key().c_str());
    ei_printf("Host:      %s\n", dev->get_upload_host().c_str());
    ei_printf("Path:      %s\n", dev->get_upload_path().c_str());
    ei_printf("\n");
    ei_printf("===== Remote management =====\n");
    ei_printf("URL:        %s\n", dev->get_management_url().c_str());
#ifdef CONFIG_WIFI_NRF700X
    bool connected = ei_ws_get_connection_status();
#else
    bool connected = false;
#endif
    ei_printf("Connected: %d\n", connected);
    ei_printf("Last error: \n");
    ei_printf("\n");

    return true;
}

bool at_run_impulse(void)
{
    EiDeviceThingy53 *dev = static_cast<EiDeviceThingy53*>(EiDeviceInfo::get_device());
    dev->set_serial_channel(UART);
    ei_start_impulse(false, false);

    return false;
}

bool at_run_impulse_cont(void)
{
    EiDeviceThingy53 *dev = static_cast<EiDeviceThingy53*>(EiDeviceInfo::get_device());
    dev->set_serial_channel(UART);
    ei_start_impulse(true, false);

    return false;
}

bool at_run_impulse_static_data(const char **argv, const int argc)
{
    EiDeviceThingy53 *dev = static_cast<EiDeviceThingy53*>(EiDeviceInfo::get_device());
    dev->set_serial_channel(UART);
    if (check_args_num(2, argc) == false) {
        return false;
    }

    bool debug = (argv[0][0] == 'y');
    size_t length = (size_t)atoi(argv[1]);

    bool res = run_impulse_static_data(debug, length, TRANSFER_BUF_LEN);

    return res;
}

bool at_stop_impulse(void)
{
    EiDeviceThingy53 *dev = static_cast<EiDeviceThingy53*>(EiDeviceInfo::get_device());
    dev->set_serial_channel(UART);
    ei_stop_impulse();

    return true;
}

#ifdef CONFIG_WIFI_NRF700X
bool at_scan_wifi(void)
{
    cmd_wifi_scan();
    cmd_wifi_scan_done();

    return true;
}

bool at_set_wifi(const char **argv, const int argc)
{
    LOG_DBG("set WiFi\n");

    char *endptr;
	int idx = 1;
    static const char* password = NULL;
    unsigned int security = 0;

	if (argc < 1) {
		return -EINVAL;
	}

    /* PSK (optional) */
	if (idx < argc) {
		password = argv[idx];
		idx++;

		if (idx < argc) {
			security = strtol(argv[idx], &endptr, 10);
		}
	} else {
        password = NULL;
		security = 0;
	}

    cmd_wifi_connect(argv[0], password, security);
    //waithing to connect to wifi
    if(cmd_wifi_connecting() < 0) {
        ei_printf("ERR: Failed to connect to WiFi\n");
        return false;
    }
    //waitinhg to connect to dhcp
    if(cmd_dhcp_configured() < 0) {
        ei_printf("ERR: Failed to configure DHCP\n");
        return false;
    }
    ei_ws_client_start(dev, nullptr);
    ei_sleep(100);
    ei_printf("OK\n");

    return true;
}

bool at_get_wifi(void)
{
    char ssid[128] = { 0 };
    char password[128] = { 0 };
    int security = 0;

    dev->get_wifi_config(ssid, password, &security);

    ei_printf("Present:   1\n");
    ei_printf("SSID:      %s\n", ssid);
    ei_printf("Password:  %s\n", password);
    ei_printf("Security:  %d\n", security);
    ei_printf("MAC:       %s\n", dev->get_mac_address().c_str());
    ei_printf("Connected: %d\n", cmd_wifi_connected());

    return true;
}
#endif

ATServer *ei_at_init(void)
{
    ATServer *at;
    dev = static_cast<EiDeviceThingy53*>(EiDeviceInfo::get_device());

    at = ATServer::get_instance();

    at->register_command(AT_DEVICEID, AT_DEVICEID_HELP_TEXT, nullptr, at_get_device_id, at_set_device_id, AT_DEVICEID_ARGS);
    at->register_command(AT_UPLOADHOST, AT_UPLOADHOST_HELP_TEXT, nullptr, at_get_upload_host, at_set_upload_host, AT_UPLOADHOST_ARGS);
    at->register_command(AT_UPLOADSETTINGS, AT_UPLOADSETTINGS_HELP_TEXT, nullptr, at_get_upload_settings, at_set_upload_settings, AT_UPLOADSETTINGS_ARGS);
    at->register_command(AT_MGMTSETTINGS, AT_MGMTSETTINGS_HELP_TEXT, nullptr, at_get_mgmt_url, at_set_mgmt_url, AT_MGMTSETTINGS_ARGS);
    at->register_command(AT_SAMPLESETTINGS, AT_SAMPLESETTINGS_HELP_TEXT, nullptr, at_get_sample_settings, at_set_sample_settings, AT_SAMPLESETTINGS_ARGS);
    at->register_command(AT_CLEARCONFIG, AT_CLEARCONFIG_HELP_TEXT, at_clear_config, nullptr, nullptr, nullptr);
    at->register_command(AT_UNLINKFILE, AT_UNLINKFILE_HELP_TEXT, nullptr, nullptr, at_unlink_file, AT_UNLINKFILE_ARGS);
    at->register_command(AT_READBUFFER, AT_READBUFFER_HELP_TEXT, nullptr, nullptr, at_read_buffer, AT_READBUFFER_ARGS);
    at->register_command(AT_SAMPLESTART, AT_SAMPLESTART_HELP_TEXT, nullptr, nullptr, at_sample_start, AT_SAMPLESTART_ARGS);
    at->register_command(AT_CONFIG, AT_CONFIG_HELP_TEXT, nullptr, at_get_config, nullptr, nullptr);
    // at->register_command(AT_READFILE, AT_READFILE_HELP_TEXT, nullptr, nullptr, at_read_file, AT_READFILE_ARGS);
    at->register_command(AT_RUNIMPULSE, AT_RUNIMPULSE_HELP_TEXT, at_run_impulse, nullptr, nullptr, nullptr);
    at->register_command(AT_RUNIMPULSECONT, AT_RUNIMPULSECONT_HELP_TEXT, at_run_impulse_cont, nullptr, nullptr, nullptr);
    at->register_command("STOPIMPULSE", "", at_stop_impulse, nullptr, nullptr, nullptr);
    at->register_command(AT_RUNIMPULSESTATIC, AT_RUNIMPULSESTATIC_HELP_TEXT, nullptr, nullptr, at_run_impulse_static_data, AT_RUNIMPULSESTATIC_ARGS);
#ifdef CONFIG_WIFI_NRF700X
    at->register_command(AT_WIFI, AT_WIFI_HELP_TEXT, nullptr, &at_get_wifi, &at_set_wifi, AT_WIFI_ARGS);
    at->register_command(AT_SCANWIFI, AT_SCANWIFI_HELP_TEXT, &at_scan_wifi, nullptr, nullptr, nullptr);
#endif

    return at;
}
```

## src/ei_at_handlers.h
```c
/* Edge Impulse ingestion SDK
 * Copyright (c) 2023 EdgeImpulse Inc.
 *
 * Permission is hereby granted, free of charge, to any person obtaining a copy
 * of this software and associated documentation files (the "Software"), to deal
 * in the Software without restriction, including without limitation the rights
 * to use, copy, modify, merge, publish, distribute, sublicense, and/or sell
 * copies of the Software, and to permit persons to whom the Software is
 * furnished to do so, subject to the following conditions:
 *
 * The above copyright notice and this permission notice shall be included in
 * all copies or substantial portions of the Software.
 *
 * THE SOFTWARE IS PROVIDED "AS IS", WITHOUT WARRANTY OF ANY KIND, EXPRESS OR
 * IMPLIED, INCLUDING BUT NOT LIMITED TO THE WARRANTIES OF MERCHANTABILITY,
 * FITNESS FOR A PARTICULAR PURPOSE AND NONINFRINGEMENT. IN NO EVENT SHALL THE
 * AUTHORS OR COPYRIGHT HOLDERS BE LIABLE FOR ANY CLAIM, DAMAGES OR OTHER
 * LIABILITY, WHETHER IN AN ACTION OF CONTRACT, TORT OR OTHERWISE, ARISING FROM,
 * OUT OF OR IN CONNECTION WITH THE SOFTWARE OR THE USE OR OTHER DEALINGS IN THE
 * SOFTWARE.
 */

#ifndef EI_AT_HANDLERS_H
#define EI_AT_HANDLERS_H

#include "firmware-sdk/at-server/ei_at_server.h"

ATServer *ei_at_init(void);

#endif /* EI_AT_HANDLERS_H */
```

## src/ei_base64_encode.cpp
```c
/*
   at_base64lib.cpp and at_base64lib.h

   Copyright (C) 2004-2008 René Nyffenegger

   This source code is provided 'as-is', without any express or implied
   warranty. In no event will the author be held liable for any damages
   arising from the use of this software.

   Permission is granted to anyone to use this software for any purpose,
   including commercial applications, and to alter it and redistribute it
   freely, subject to the following restrictions:

   1. The origin of this source code must not be misrepresented; you must not
      claim that you wrote the original source code. If you use this source code
      in a product, an acknowledgment in the product documentation would be
      appreciated but is not required.

   2. Altered source versions must be plainly marked as such, and must not be
      misrepresented as being the original source code.

   3. This notice may not be removed or altered from any source distribution.

   René Nyffenegger rene.nyffenegger@adp-gmbh.ch

*/

/* Include ----------------------------------------------------------------- */
#include "edge-impulse-sdk/porting/ei_classifier_porting.h"
#include "firmware-sdk/ei_device_info_lib.h"
#include "firmware-sdk/ei_device_memory.h"
#include <zephyr/logging/log.h>
#include <zephyr/drivers/uart.h>
#include <zephyr/kernel.h>
#include <cmath>

LOG_MODULE_REGISTER(base64, LOG_LEVEL_DBG);

static const struct device *uart;
static const char *base64_chars = "ABCDEFGHIJKLMNOPQRSTUVWXYZ"
                                  "abcdefghijklmnopqrstuvwxyz"
                                  "0123456789+/";

void base64_encode(const char *input, size_t input_size)
{
    int i = 0;
    int j = 0;
    unsigned char char_array_3[3];
    unsigned char char_array_4[4];
    // unsigned char char_array_5[4];

    while (input_size--) {
        char_array_3[i++] = *(input++);
        if (i == 3) {
            char_array_4[0] = base64_chars[(char_array_3[0] & 0xfc) >> 2];
            char_array_4[1] = base64_chars[((char_array_3[0] & 0x03) << 4) + ((char_array_3[1] & 0xf0) >> 4)];
            char_array_4[2] = base64_chars[((char_array_3[1] & 0x0f) << 2) + ((char_array_3[2] & 0xc0) >> 6)];
            char_array_4[3] = base64_chars[char_array_3[2] & 0x3f];

            // bulk transfer is faster than byte-by-byte
            uart_fifo_fill(uart, char_array_4, 4);
            i = 0;
        }
    }

    if (i) {
        for (j = i; j < 3; j++) {
            char_array_3[j] = '\0';
        }

        char_array_4[0] = base64_chars[(char_array_3[0] & 0xfc) >> 2];
        char_array_4[1] = base64_chars[((char_array_3[0] & 0x03) << 4) + ((char_array_3[1] & 0xf0) >> 4)];
        char_array_4[2] = base64_chars[((char_array_3[1] & 0x0f) << 2) + ((char_array_3[2] & 0xc0) >> 6)];
        char_array_4[3] = base64_chars[char_array_3[2] & 0x3f];

        // bulk transfer is faster than byte-by-byte
        uart_fifo_fill(uart, char_array_4, i + 1);

        memset(char_array_4, '=', 4);
        uart_fifo_fill(uart, char_array_4, 3 - i);
    }
}

bool read_encode_send(size_t address, size_t length)
{
    EiDeviceInfo *dev = EiDeviceInfo::get_device();
    EiDeviceMemory *memory = dev->get_memory();
    // we are encoiding data into base64, so it needs to be divisible by 3
    const int buffer_size = 513;
    uint8_t* buffer = (uint8_t*)ei_malloc(buffer_size);
    if(buffer == nullptr) {
        LOG_ERR("Unable to allocate base64 encoder buffer");
        return false;
    }

    /* Initialize board uart */
	uart = device_get_binding("CDC_ACM_0");
	if (!uart) {
        LOG_ERR("Failed get CDC_ACM_0 handler");
        ei_free(buffer);
        return false;
	}

    while (1) {
        LOG_DBG("Reading %d bytes from %d", length, address);
        size_t bytes_to_read = buffer_size;

        if (bytes_to_read > length) {
            bytes_to_read = length;
        }

        if (bytes_to_read == 0) {
            ei_free(buffer);
            return true;
        }

        if (memory->read_sample_data(buffer, address, bytes_to_read) != bytes_to_read) {
            ei_free(buffer);
            LOG_ERR("Failed to read samples memory");
            return false;
        }

        base64_encode((char *)buffer, bytes_to_read);

        address += bytes_to_read;
        length -= bytes_to_read;
    }

    ei_free(buffer);
    return true;
}
```
